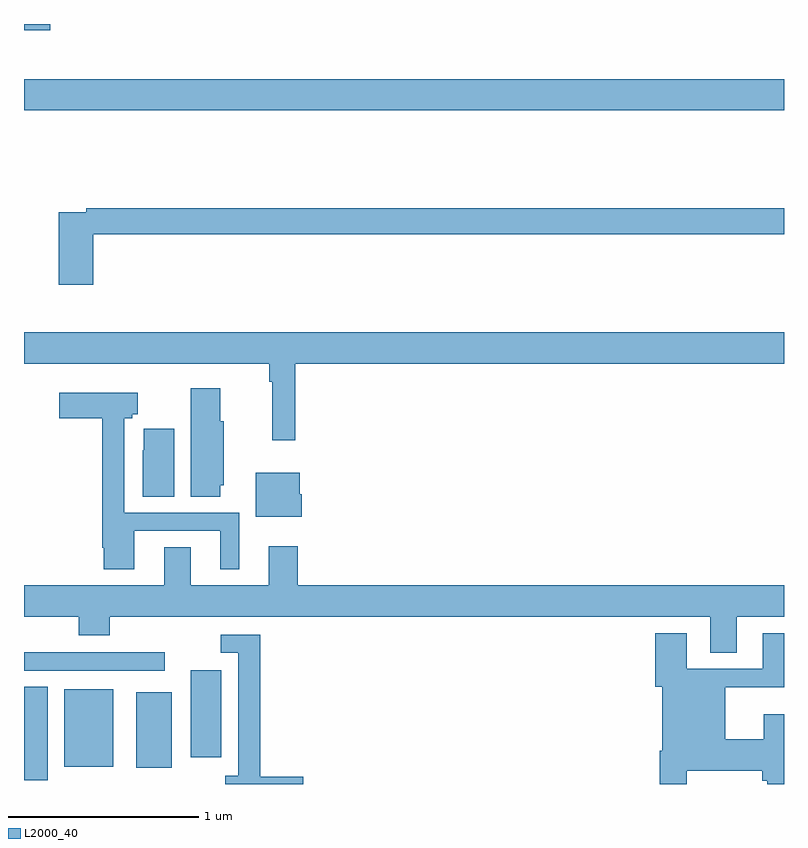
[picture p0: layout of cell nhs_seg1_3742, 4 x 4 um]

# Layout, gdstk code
import gdstk
lib = gdstk.Library(unit=1e-6, precision=1e-09)
def R(c, l, rs):  # rectangles x0, y0, x1, y1
    for r in rs: c.add(gdstk.rectangle(r[:2], r[2:], *l))
def P(c, l, *ps):  # polygons
    for p in ps: c.add(gdstk.Polygon(p, *l))
L2000_40 = (2000, 40)

nhs_seg1_3742 = lib.new_cell('nhs_seg1_3742')
R(nhs_seg1_3742, L2000_40, [(315,536.22,315.124,536.711), (315.59,536.285,315.778,536.683), (315.212,536.291,315.469,536.698), (315.878,536.34,316.039,536.797), (315,536.796,315.742,536.892), (315,539.744,319,539.908), (315,540.167,315.139,540.199)])
P(nhs_seg1_3742, L2000_40, [(315.365,539.092),(319,539.092),(319,539.228),(315.328,539.228),(315.328,539.208),(315.182,539.208),(315.182,538.827),(315.365,538.827)],
  [(316.427,538.412),(319,538.412),(319,538.576),(315,538.576),(315,538.412),(316.291,538.412),(316.291,538.316),(316.306,538.316),(316.306,538.008),(316.427,538.008)],
  [(316.033,537.771),(316.051,537.771),(316.051,538.107),(316.033,538.107),(316.033,538.282),(315.878,538.282),(315.878,537.712),(316.033,537.712)],
  [(315.58,537.531),(316.034,537.531),(316.034,537.33),(316.132,537.33),(316.132,537.627),(315.528,537.627),(315.528,538.124),(315.57,538.124),(315.57,538.144),(315.599,538.144),(315.599,538.258),(315.186,538.258),(315.186,538.124),(315.412,538.124),(315.412,537.442),(315.419,537.442),(315.419,537.33),(315.58,537.33)],
  [(315.79,538.069),(315.629,538.069),(315.629,537.956),(315.626,537.956),(315.626,537.712),(315.79,537.712)],
  [(316.462,537.723),(316.45,537.723),(316.45,537.838),(316.22,537.838),(316.22,537.605),(316.462,537.605)],
  [(318.751,537.08),(319,537.08),(319,537.244),(316.442,537.244),(316.442,537.451),(316.289,537.451),(316.289,537.244),(315.877,537.244),(315.877,537.446),(315.737,537.446),(315.737,537.244),(315,537.244),(315,537.08),(315.287,537.08),(315.287,536.981),(315.452,536.981),(315.452,537.08),(318.611,537.08),(318.611,536.89),(318.751,536.89)],
  [(318.487,536.27),(318.886,536.27),(318.886,536.217),(318.911,536.217),(318.911,536.199),(319,536.199),(319,536.566),(318.893,536.566),(318.893,536.434),(318.691,536.434),(318.691,536.708),(319,536.708),(319,536.992),(318.887,536.992),(318.887,536.805),(318.487,536.805),(318.487,536.992),(318.323,536.992),(318.323,536.712),(318.359,536.712),(318.359,536.374),(318.347,536.374),(318.347,536.199),(318.487,536.199)],
  [(316.471,536.237),(316.244,536.237),(316.244,536.985),(316.035,536.985),(316.035,536.889),(316.128,536.889),(316.128,536.242),(316.058,536.242),(316.058,536.199),(316.471,536.199)])

lib.write_gds('nhs_seg1_3742.gds')
